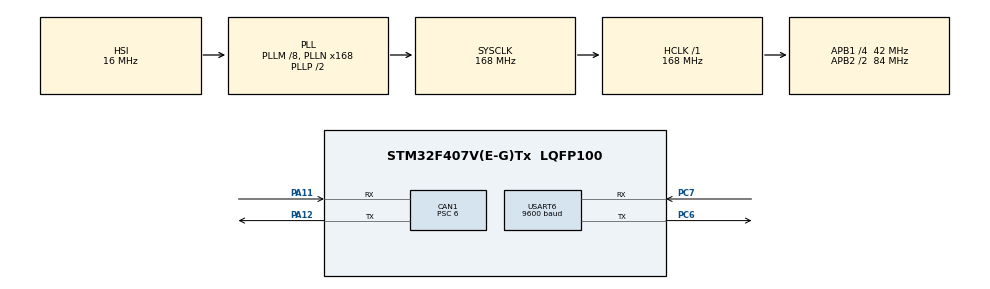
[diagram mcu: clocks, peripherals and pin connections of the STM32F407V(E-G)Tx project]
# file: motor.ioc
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CAN1.ABOM=DISABLE
CAN1.BS1=CAN_BS1_5TQ
CAN1.CalculateBaudRate=1000000
CAN1.CalculateTimeBit=1000
CAN1.CalculateTimeQuantum=142.85714285714286
CAN1.Prescaler=6
Dma.Request0=USART6_RX
Dma.Request1=USART6_TX
Dma.USART6_RX.0.Direction=DMA_PERIPH_TO_MEMORY
Dma.USART6_RX.0.FIFOMode=DMA_FIFOMODE_DISABLE
Dma.USART6_RX.0.Instance=DMA2_Stream1
Dma.USART6_RX.0.MemDataAlignment=DMA_MDATAALIGN_BYTE
Dma.USART6_RX.0.MemInc=DMA_MINC_ENABLE
Dma.USART6_RX.0.Mode=DMA_NORMAL
Dma.USART6_RX.0.PeriphDataAlignment=DMA_PDATAALIGN_BYTE
Dma.USART6_RX.0.PeriphInc=DMA_PINC_DISABLE
Dma.USART6_RX.0.Priority=DMA_PRIORITY_LOW
Dma.USART6_TX.1.Direction=DMA_MEMORY_TO_PERIPH
Dma.USART6_TX.1.FIFOMode=DMA_FIFOMODE_DISABLE
Dma.USART6_TX.1.Instance=DMA2_Stream6
Dma.USART6_TX.1.MemDataAlignment=DMA_MDATAALIGN_BYTE
Dma.USART6_TX.1.MemInc=DMA_MINC_ENABLE
Dma.USART6_TX.1.Mode=DMA_NORMAL
Dma.USART6_TX.1.PeriphDataAlignment=DMA_PDATAALIGN_BYTE
Dma.USART6_TX.1.PeriphInc=DMA_PINC_DISABLE
Dma.USART6_TX.1.Priority=DMA_PRIORITY_LOW
Mcu.Family=STM32F4
Mcu.Name=STM32F407V(E-G)Tx
Mcu.Package=LQFP100
NVIC.CAN1_RX0_IRQn=true\:1\:0\:true\:false\:true\:true\:true\:true
NVIC.DMA2_Stream1_IRQn=true\:0\:0\:false\:false\:true\:false\:true\:true
NVIC.DMA2_Stream6_IRQn=true\:0\:0\:false\:false\:true\:false\:true\:true
NVIC.PriorityGroup=NVIC_PRIORITYGROUP_4
NVIC.USART6_IRQn=true\:0\:0\:false\:false\:true\:true\:true\:true
PA11.Mode=CAN_Activate
PA11.Signal=CAN1_RX
PA12.Mode=CAN_Activate
PA12.Signal=CAN1_TX
PA13.Mode=Serial_Wire
PA13.Signal=SYS_JTMS-SWDIO
PA14.Mode=Serial_Wire
PA14.Signal=SYS_JTCK-SWCLK
PC6.GPIO_Speed=GPIO_SPEED_FREQ_MEDIUM
PC6.Mode=Asynchronous
PC6.Signal=USART6_TX
PC7.GPIO_Speed=GPIO_SPEED_FREQ_MEDIUM
PC7.Mode=Asynchronous
PC7.Signal=USART6_RX
PH0-OSC_IN.Mode=HSE-External-Oscillator
PH0-OSC_IN.Signal=RCC_OSC_IN
PH1-OSC_OUT.Mode=HSE-External-Oscillator
PH1-OSC_OUT.Signal=RCC_OSC_OUT
ProjectManager.HeapSize=0x200
ProjectManager.StackSize=0x400
ProjectManager.TargetToolchain=MDK-ARM V5.32
RCC.48MHZClocksFreq_Value=84000000
RCC.AHBFreq_Value=168000000
RCC.APB1CLKDivider=RCC_HCLK_DIV4
RCC.APB1Freq_Value=42000000
RCC.APB1TimFreq_Value=84000000
RCC.APB2CLKDivider=RCC_HCLK_DIV2
RCC.APB2Freq_Value=84000000
RCC.APB2TimFreq_Value=168000000
RCC.CortexFreq_Value=168000000
RCC.HCLKFreq_Value=168000000
RCC.HSE_VALUE=8000000
RCC.HSI_VALUE=16000000
RCC.LSE_VALUE=32768
RCC.PLLM=8
RCC.PLLN=168
RCC.SYSCLKFreq_VALUE=168000000
RCC.SYSCLKSource=RCC_SYSCLKSOURCE_PLLCLK
RCC.VCOOutputFreq_Value=336000000
USART6.BaudRate=9600
USART6.StopBits=STOPBITS_2
USART6.VirtualMode=VM_ASYNC
board=custom

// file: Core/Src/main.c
/* USER CODE BEGIN Header */
/**
  ******************************************************************************
  * @file           : main.c
  * @brief          : Main program body
  ******************************************************************************
  * @attention
  *
  * Copyright (c) 2025 STMicroelectronics.
  * All rights reserved.
  *
  * This software is licensed under terms that can be found in the LICENSE file
  * in the root directory of this software component.
  * If no LICENSE file comes with this software, it is provided AS-IS.
  *
  ******************************************************************************
  */
/* USER CODE END Header */
#include "main.h"
#include "can.h"
#include "dma.h"
#include "usart.h"
#include "gpio.h"

/* USER CODE BEGIN Includes */
#include "Caculate.h"
#include "DJI.h"
//#include "uart_printf.c"
#include "wtr_can.h"
#include "M2006.h"
#include "stdlib.h"
/* USER CODE END Includes */

/* USER CODE BEGIN PV */
/* ============================================================================
 * 全局状态（用户变量）
 * receive_flag/rx_done/ref：由串口接收回调更新，主循环与控制逻辑读取
 * tx_once_flag：到位反馈一次性发送标志
 * rx_buffer：串口 DMA + IDLE 模式的接收缓冲（长度10），注意回调中会补 '\0'
 * ack：向主控返回的单字节确认码（0xAA）
 * ========================================================================== */
uint8_t receive_flag = '0';
uint8_t rx_buffer[10];//接收数组
volatile uint8_t rx_done = 0;//接收完成标志
volatile uint8_t tx_once_flag = 0;//发送检验标志位
volatile double ref = 0.0;
int rx_index = 0;
const uint8_t ack = 0xAA;       // 向主控的反馈信息
/* USER CODE END PV */

void SystemClock_Config(void);

/* USER CODE BEGIN 0 */

//float_to_byte place;//目标位置

/* USER CODE END 0 */

int main(void)
{

  /* MCU Configuration--------------------------------------------------------*/

  /* Reset of all peripherals, Initializes the Flash interface and the Systick. */
  HAL_Init();

  /* Configure the system clock */
  SystemClock_Config();

  /* Initialize all configured peripherals */
  MX_GPIO_Init();
  MX_DMA_Init();
  MX_CAN1_Init();
  MX_USART6_UART_Init();
  /* USER CODE BEGIN 2 */
	HAL_Delay(1000); //等待电调/总线准备就绪，避免上电瞬间误动作
	CANFilterInit(&hcan1);//用于初始化can1总线、开启过滤器，无法使用can2
	M2006_init(); //设置 M2006 参数/减速比等，并初始化 PID 默认值
	__HAL_UART_ENABLE_IT(&huart6, UART_IT_ERR); //开启 UART 错误中断（含 ORE/FE/PE/NE）
	HAL_UARTEx_ReceiveToIdle_DMA(&huart6,rx_buffer,sizeof(rx_buffer)); //开启 USART6 DMA + 空闲中断接收
	__HAL_DMA_DISABLE_IT(&hdma_usart6_rx,DMA_IT_HT); //关闭 DMA 半传中断：避免半包触发处理
  /* USER CODE END 2 */

  /* Infinite loop */
  /* USER CODE BEGIN WHILE */
/* ============================================================================
 * 主循环职责：
 * - 读取接收完成标志（rx_done）并一次性锁存“本次到位反馈”的触发位（tx_once_flag）
 * - 连续调用 set_M2006_position_cm(ref) 执行位置伺服（外环：位置到速度；内环：速度到电流）
 * - 每轮发送一次 1~4 路电机电流命令（CanTransmit_DJI_1234）
 * - 若判定到位且 tx_once_flag==1，则向主控发送 0xAA 确认，并清零 tx_once_flag
 * - HAL_Delay(5)：粗粒度控制循环节拍（简单系统可接受；如需硬实时建议迁移到定时器中断）
 * ========================================================================== */
  while (1)
  {
		/* 接收到 'A' 命令：锁存本次运动任务，tx_once_flag=1 确保“到位反馈”仅发送一次 */
		if(rx_done == 1 && rx_buffer[0] == 'A')
		{
			//set_M2006_position_cm(ref);
			rx_done = 0;
			tx_once_flag = 1;
		}
		set_M2006_position_cm(ref);
		/* 位置伺服（positionServo→speedServo→PID_Calc）：ref 单位为“厘米”，内部转换为角度 */
		CanTransmit_DJI_1234(&hcan1,hDJI[0].speedPID.output,hDJI[1].speedPID.output,hDJI[2].speedPID.output,hDJI[3].speedPID.output); // 自行选择�?要的电机ID填入

		if(M2006_done() == 1 && tx_once_flag == 1)//到位
		{
			/* 到位一次性反馈：主控仅需接收单字节 0xAA 作为完成信号（非 ASCII，调试请用十六进制显示） */
			HAL_UART_Transmit(&huart6, (uint8_t*)&ack, 1, 0xFF);
			tx_once_flag = 0;//复位tx_once_flag
		}
		/* 周期节拍：5ms（简单节拍控制）。若后续并发任务增多，建议迁移控制循环至定时器中断以获得确定性周期 */
		HAL_Delay(5);
    /* USER CODE END WHILE */

  }
}

void SystemClock_Config(void)
{
  RCC_OscInitTypeDef RCC_OscInitStruct = {0};
  RCC_ClkInitTypeDef RCC_ClkInitStruct = {0};

  /** Configure the main internal regulator output voltage
  */
  __HAL_RCC_PWR_CLK_ENABLE();
  __HAL_PWR_VOLTAGESCALING_CONFIG(PWR_REGULATOR_VOLTAGE_SCALE1);

  /** Initializes the RCC Oscillators according to the specified parameters
  * in the RCC_OscInitTypeDef structure.
  */
  RCC_OscInitStruct.OscillatorType = RCC_OSCILLATORTYPE_HSI;
  RCC_OscInitStruct.HSIState = RCC_HSI_ON;
  RCC_OscInitStruct.HSICalibrationValue = RCC_HSICALIBRATION_DEFAULT;
  RCC_OscInitStruct.PLL.PLLState = RCC_PLL_ON;
  RCC_OscInitStruct.PLL.PLLSource = RCC_PLLSOURCE_HSI;
  RCC_OscInitStruct.PLL.PLLM = 8;
  RCC_OscInitStruct.PLL.PLLN = 168;
  RCC_OscInitStruct.PLL.PLLP = RCC_PLLP_DIV2;
  RCC_OscInitStruct.PLL.PLLQ = 4;
  if (HAL_RCC_OscConfig(&RCC_OscInitStruct) != HAL_OK)
  {
    Error_Handler();
  }

  /** Initializes the CPU, AHB and APB buses clocks
  */
  RCC_ClkInitStruct.ClockType = RCC_CLOCKTYPE_HCLK|RCC_CLOCKTYPE_SYSCLK
                              |RCC_CLOCKTYPE_PCLK1|RCC_CLOCKTYPE_PCLK2;
  RCC_ClkInitStruct.SYSCLKSource = RCC_SYSCLKSOURCE_PLLCLK;
  RCC_ClkInitStruct.AHBCLKDivider = RCC_SYSCLK_DIV1;
  RCC_ClkInitStruct.APB1CLKDivider = RCC_HCLK_DIV4;
  RCC_ClkInitStruct.APB2CLKDivider = RCC_HCLK_DIV2;

  if (HAL_RCC_ClockConfig(&RCC_ClkInitStruct, FLASH_LATENCY_5) != HAL_OK)
  {
    Error_Handler();
  }
}

/* USER CODE BEGIN 4 */
void HAL_UARTEx_RxEventCallback(UART_HandleTypeDef* huart, uint16_t Size)
{
    if(huart == &huart6) // 这里用你的实际 UART 句柄
    {
        // --- 1. 基本长度检查 ---
        if (Size < 2) // 至少需要命令+1个参数字符
        {
            HAL_UARTEx_ReceiveToIdle_DMA(&huart6, rx_buffer, sizeof(rx_buffer));
            __HAL_DMA_DISABLE_IT(&hdma_usart6_rx, DMA_IT_HT);
            return;
        }

        // --- 2. 添加字符串结束符，防止 atof 越界 ---
        if (Size < sizeof(rx_buffer))
        {
            rx_buffer[Size] = '\0';
        }
        else
        {
            rx_buffer[sizeof(rx_buffer) - 1] = '\0';
        }

        // --- 3. 解析指令与参数 ---
        char command = rx_buffer[0];
        if (command == 'A') // 你自己的协议命令，可以加更多分支
        {
            double parsed_value = atof((const char *)&rx_buffer[1]);
            ref = parsed_value;
            receive_flag = command;
            rx_done = 1;
        }

        // --- 4. 重新启动 DMA 接收 ---
        HAL_UARTEx_ReceiveToIdle_DMA(&huart6, rx_buffer, sizeof(rx_buffer));
        __HAL_DMA_DISABLE_IT(&hdma_usart6_rx, DMA_IT_HT);
    }
}

/* ============================================================================
 * UART 错误回调（最简 ORE 兜底）：
 * - 识别 ORE/FE/PE/NE 并逐一清旗标
 * - 立即停止 DMA 并重启 ReceiveToIdle_DMA，迅速恢复接收状态
 * - 不做复杂容错与日志，仅保证“不断收”
 * ========================================================================== */
void HAL_UART_ErrorCallback(UART_HandleTypeDef *huart)
{
    if (huart == &huart6) // 只处理 huart1
    {
        uint32_t err = huart->ErrorCode;

        // 清除所有接收相关错误标志
        if (err & HAL_UART_ERROR_ORE) __HAL_UART_CLEAR_OREFLAG(huart);
        if (err & HAL_UART_ERROR_FE)  __HAL_UART_CLEAR_FEFLAG(huart);
        if (err & HAL_UART_ERROR_PE)  __HAL_UART_CLEAR_PEFLAG(huart);
        if (err & HAL_UART_ERROR_NE)  __HAL_UART_CLEAR_NEFLAG(huart);

        // 重启接收
        HAL_UART_DMAStop(huart);
        HAL_UARTEx_ReceiveToIdle_DMA(&huart6, rx_buffer, sizeof(rx_buffer));
        __HAL_DMA_DISABLE_IT(&hdma_usart6_rx, DMA_IT_HT);
    }
}

/* USER CODE END 4 */

void Error_Handler(void)
{
  __disable_irq();
  while (1)
  {
  }
}
